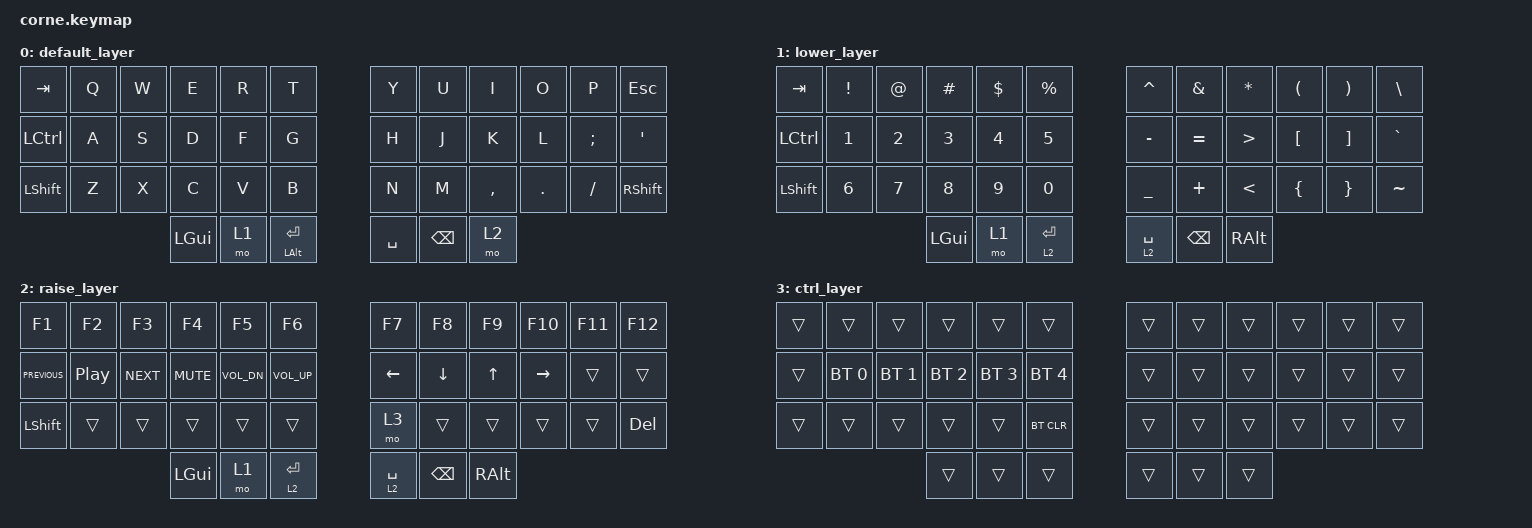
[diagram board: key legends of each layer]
/*
 * Copyright (c) 2020 The ZMK Contributors
 *
 * SPDX-License-Identifier: MIT
 */

#include <behaviors.dtsi>
#include <dt-bindings/zmk/keys.h>
#include <dt-bindings/zmk/bt.h>

/ {
        keymap {
                compatible = "zmk,keymap";

                default_layer {
// -----------------------------------------------------------------------------------------
// |  TAB |  Q  |  W  |  E  |  R  |  T  |   |  Y  |  U   |  I  |  O  |  P  | ESC  |
// | CTRL |  A  |  S  |  D  |  F  |  G  |   |  H  |  J   |  K  |  L  |  ;  |  '   |
// | SHFT |  Z  |  X  |  C  |  V  |  B  |   |  N  |  M   |  ,  |  .  |  /  | SHFT |
//                    | GUI | LWR |RS/EN|   |RS/SP|LW/BKS| ALT |
                        bindings = <
   &kp TAB   &kp Q &kp W &kp E &kp R &kp T   &kp Y &kp U  &kp I     &kp O   &kp P    &kp ESC
   &kp LCTRL &kp A &kp S &kp D &kp F &kp G   &kp H &kp J  &kp K     &kp L   &kp SEMI &kp SQT
   &kp LSHFT &kp Z &kp X &kp C &kp V &kp B   &kp N &kp M  &kp COMMA &kp DOT &kp FSLH &kp RSHFT
                  &kp LGUI &mo 1 &mt LALT RET &kp SPACE  &kp BSPC &mo 2
                        >;
                };

                lower_layer {
// -----------------------------------------------------------------------------------------
// |  TAB |  !  |  @  |  #  |  $  |  %  |   |  ^  |  &  |  *  |  (  |  )  | \/|  |
// | CTRL |  1  |  2  |  3  |  4  |  5  |   |  -  |  =  |  >  |  [  |  ]  |  `   |
// | SHFT |  6  |  7  |  8  |  9  |  0  |   |  _  |  +  |  <  |  {  |  }  |  ~   |
//                    | GUI | LWR |RS/EN|   |RS/SP|LW/BKS| ALT |
                        bindings = <
   &kp TAB   &kp EXCL &kp AT &kp HASH &kp DLLR &kp PRCNT   &kp CARET &kp AMPS  &kp ASTRK &kp LPAR &kp RPAR &kp BSLH
   &kp LCTRL &kp N1   &kp N2 &kp N3   &kp N4   &kp N5      &kp MINUS &kp EQUAL &kp GT    &kp LBKT &kp RBKT &kp GRAVE
   &kp LSHFT &kp N6   &kp N7 &kp N8   &kp N9   &kp N0      &kp UNDER &kp PLUS  &kp LT    &kp LBRC &kp RBRC &kp TILDE
                  &kp LGUI &mo 1 &lt 2 RET     &lt 2 SPACE &kp BSPC &kp RALT
                        >;
                };

                raise_layer {
// -----------------------------------------------------------------------------------------
// |  TAB |  1  |  2  |  3  |  4  |  5  |   |  6  |  7  |  8  |  9  |  0  | BSPC |
// |  PRV |P/PLY| NXT |MUTE | VDN | VUP |   | LFT | DWN |  UP | RGT |     |      |
// | SHFT |     |     |     |     |     |   |  3  |     |     |     |     |  DEL |
//                    | GUI | LWR |RS/EN|   |RS/SP|LW/BKS| ALT |
                        bindings = <
   &kp F1          &kp F2    &kp F3      &kp F4      &kp F5        &kp F6           &kp F7    &kp F8   &kp F9  &kp F10  &kp F11 &kp F12
   &kp C_PREVIOUS  &kp C_PP  &kp C_NEXT  &kp K_MUTE  &kp C_VOL_DN  &kp C_VOLUME_UP  &kp LEFT  &kp DOWN &kp UP &kp RIGHT &trans  &trans
   &kp LSHFT       &trans    &trans      &trans      &trans        &trans           &mo 3     &trans   &trans &trans    &trans  &kp DEL
                                         &kp LGUI    &mo 1         &lt 2 RET      &lt 2 SPACE &kp BSPC &kp RALT
                        >;
                };

        ctrl_layer {
            // -----------------------------------------------------------------------------------------
            // |      |     |    |     |     |     |   |     |     |     |     |     |      |
            // |      | BT1 |BT2 | BT3 | BT4 | BT5 |   |     |     |     |     |     |      |
            // |      |     |    |     |     |BTCLR|   |     |     |     |     |     |      |
            //                   |     |     |     |   |     |     |     |

                bindings = <
    &trans  &trans        &trans        &trans        &trans        &trans          &trans  &trans  &trans  &trans  &trans  &trans
    &trans  &bt BT_SEL 0  &bt BT_SEL 1  &bt BT_SEL 2  &bt BT_SEL 3  &bt BT_SEL 4    &trans  &trans  &trans  &trans  &trans  &trans
    &trans  &trans        &trans        &trans        &trans        &bt BT_CLR      &trans  &trans  &trans  &trans  &trans  &trans
                                        &trans        &trans        &trans          &trans  &trans  &trans
                >;
            };
        };
};
